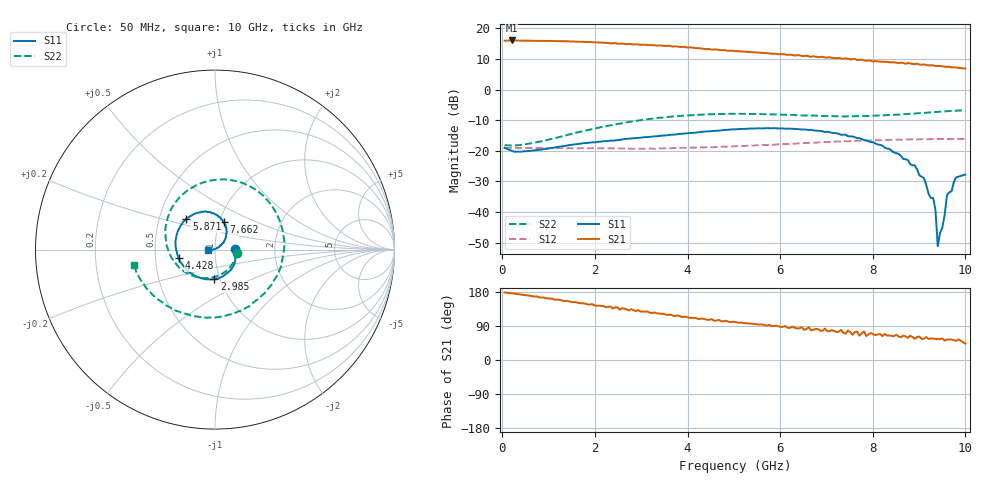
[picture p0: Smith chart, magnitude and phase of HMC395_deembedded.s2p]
!Hittite Microwave Corporation
!12 Elizabeth Drive
!Chelmsford, MA 01824
!Tel: 978-250-3343
!Fax: 978-250-3373
!Device: HMC395, DC-4 GHz InGaP HBT Gain Block MMIC Amplifier
!Misc: Vdd=+5V, Data includes (two) K connectors, Room
# MHZ S MA R 50
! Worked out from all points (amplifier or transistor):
!   201 points, 50 MHz to 10 GHz, reference 50 ohm
!   highest |S21| = 16.1 dB at 199.2 MHz (marker M1)
!   |S21| within 3 dB of that: start of sweep to 4.64 GHz
!   unconditionally stable (mu >= 1): start of sweep to 5.569 GHz; 5.581 GHz to 5.645 GHz; 6.43 GHz to end of sweep (the widest 3 of 4)
!   at 1.692 GHz: K = 1.02, MAG = 16.6 dB, |S12| = -19.2 dB
!   at 5.025 GHz: K = 1.05, MAG = 14.1 dB, |S12| = -18.5 dB
!   at 10 GHz: K = 1.30, MAG = 8.2 dB, |S12| = -16.0 dB
!   S11 on the Smith chart (normalised r, x): 50 MHz: 1.25, +0.01; 2.985 GHz: 0.94, -0.32; 4.428 GHz: 0.66, -0.07; 5.871 GHz: 0.69, +0.25; 7.662 GHz: 1.05, +0.33; 10 GHz: 0.92, -0.00
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50  0.112 2.8  6.313 178.1  0.112 -0.3  0.124 -7.5
199.25  0.1 -0.9  6.351 176.3  0.112 0.4  0.122 -19.3
1741.5  0.133 -34.3  6.049 149.6  0.111 5.9  0.211 -144.6
2985.25  0.164 -91.5  5.405 127.6  0.108 12.2  0.317 146.5
3383.25  0.175 -111.8  5.252 122.6  0.11 15.5  0.346 127.8
4428  0.208 -166.7  4.605 105.7  0.115 20.7  0.395 82.4
5025  0.225 166.5  4.259 100.5  0.119 23.0  0.403 57.4
5870.75  0.235 132.9  3.868 89.6  0.126 25.9  0.394 20.8
6716.5  0.217 102.9  3.507 79.6  0.136 29.5  0.377 -18.5
7313.5  0.183 83.3  3.22 79.5  0.142 28.4  0.366 -49.8
7413  0.183 81.5  3.235 69.3  0.144 28.5  0.364 -53.9
7462.75  0.174 78.7  3.194 78.0  0.143 28.8  0.369 -58.1
7562.25  0.172 76.5  3.138 66.5  0.145 28.1  0.367 -61.6
7661.75  0.161 72.9  3.039 74.9  0.146 27.9  0.37 -67.1
7711.5  0.161 71.3  3.054 64.2  0.146 28.0  0.368 -69.3
7811  0.15 69.1  2.99 75.6  0.147 28.5  0.373 -75.1
7860.75  0.149 66.2  2.974 63.2  0.147 27.9  0.37 -77.2
8358.25  0.108 54.2  2.789 64.9  0.151 26.0  0.384 -101.7
9104.5  0.036 39.6  2.585 56.4  0.155 27.5  0.416 -135.7
9403  0.002778 78.4  2.428 55.0  0.156 26.4  0.433 -147.8
9602  0.019 -170.7  2.359 54.3  0.156 27.0  0.445 -155.5
10000  0.041 -178.9  2.204 43.3  0.158 27.9  0.457 -169.5
